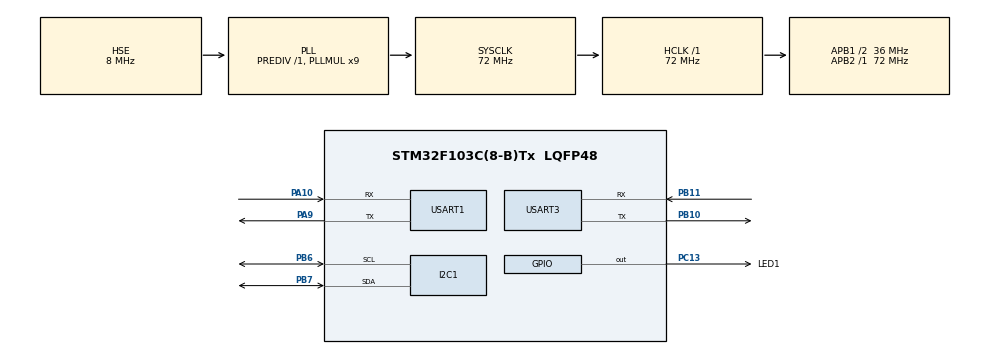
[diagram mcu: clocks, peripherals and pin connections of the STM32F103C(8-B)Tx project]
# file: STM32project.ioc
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Mcu.Family=STM32F1
Mcu.Name=STM32F103C(8-B)Tx
Mcu.Package=LQFP48
NVIC.PriorityGroup=NVIC_PRIORITYGROUP_4
NVIC.TIM3_IRQn=true\:0\:0\:false\:false\:true\:true\:true\:true
PA10.Mode=Asynchronous
PA10.Signal=USART1_RX
PA13.Mode=Serial_Wire
PA13.Signal=SYS_JTMS-SWDIO
PA14.Mode=Serial_Wire
PA14.Signal=SYS_JTCK-SWCLK
PA9.Mode=Asynchronous
PA9.Signal=USART1_TX
PB10.Mode=Asynchronous
PB10.Signal=USART3_TX
PB11.Mode=Asynchronous
PB11.Signal=USART3_RX
PB6.Mode=I2C
PB6.Signal=I2C1_SCL
PB7.Mode=I2C
PB7.Signal=I2C1_SDA
PC13-TAMPER-RTC.GPIO_Label=LED1
PC13-TAMPER-RTC.Signal=GPIO_Output
PC14-OSC32_IN.Mode=LSE-External-Oscillator
PC14-OSC32_IN.Signal=RCC_OSC32_IN
PC15-OSC32_OUT.Mode=LSE-External-Oscillator
PC15-OSC32_OUT.Signal=RCC_OSC32_OUT
PD0-OSC_IN.Mode=HSE-External-Oscillator
PD0-OSC_IN.Signal=RCC_OSC_IN
PD1-OSC_OUT.Mode=HSE-External-Oscillator
PD1-OSC_OUT.Signal=RCC_OSC_OUT
ProjectManager.HeapSize=0x200
ProjectManager.StackSize=0x400
ProjectManager.TargetToolchain=CMake
RCC.AHBFreq_Value=72000000
RCC.APB1CLKDivider=RCC_HCLK_DIV2
RCC.APB1Freq_Value=36000000
RCC.APB1TimFreq_Value=72000000
RCC.APB2Freq_Value=72000000
RCC.APB2TimFreq_Value=72000000
RCC.HCLKFreq_Value=72000000
RCC.PLLMUL=RCC_PLL_MUL9
RCC.PLLSourceVirtual=RCC_PLLSOURCE_HSE
RCC.SYSCLKFreq_VALUE=72000000
RCC.SYSCLKSource=RCC_SYSCLKSOURCE_PLLCLK
RCC.USBFreq_Value=72000000
TIM3.Period=29999
TIM3.Prescaler=7199
USART1.VirtualMode=VM_ASYNC
USART3.VirtualMode=VM_ASYNC
VP_TIM3_VS_ClockSourceINT.Mode=Internal
board=custom

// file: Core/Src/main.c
/* USER CODE BEGIN Header */
/**
  ******************************************************************************
  * @file           : main.c
  * @brief          : Main program body
  ******************************************************************************
  * @attention
  *
  * Copyright (c) 2026 STMicroelectronics.
  * All rights reserved.
  *
  * This software is licensed under terms that can be found in the LICENSE file
  * in the root directory of this software component.
  * If no LICENSE file comes with this software, it is provided AS-IS.
  *
  ******************************************************************************
  */
/* USER CODE END Header */
#include "main.h"
#include "i2c.h"
#include "tim.h"
#include "usart.h"
#include "gpio.h"

/* USER CODE BEGIN Includes */
#include "bh1750.h"
#include "aht20.h"
#include <stdio.h>
#include <string.h>
/* USER CODE END Includes */

/* USER CODE BEGIN PV */
volatile uint8_t tim3_flag = 0;
float light_lux = 0.0f;
float temperature = 0.0f;
float humidity = 0.0f;
uint8_t led_state = 0;
char bt_buf[64];
/* USER CODE END PV */

void SystemClock_Config(void);

int main(void)
{

  /* MCU Configuration--------------------------------------------------------*/

  /* Reset of all peripherals, Initializes the Flash interface and the Systick. */
  HAL_Init();

  /* Configure the system clock */
  SystemClock_Config();

  /* Initialize all configured peripherals */
  MX_GPIO_Init();
  MX_TIM3_Init();
  MX_I2C1_Init();
  MX_USART1_UART_Init();
  MX_USART3_UART_Init();
  /* USER CODE BEGIN 2 */
  /* LED blink to confirm program running */
  for (int i = 0; i < 3; i++) {
    HAL_GPIO_WritePin(LED1_GPIO_Port, LED1_Pin, GPIO_PIN_SET);
    HAL_Delay(200);
    HAL_GPIO_WritePin(LED1_GPIO_Port, LED1_Pin, GPIO_PIN_RESET);
    HAL_Delay(200);
  }

  BH1750_Init(&hi2c1);
  AHT20_Init(&hi2c1);

  HAL_TIM_Base_Start_IT(&htim3);

  HAL_Delay(500);
  /* USER CODE END 2 */

  /* Infinite loop */
  while (1)
  {

    /* USER CODE BEGIN 3 */
    if (tim3_flag)
    {
      tim3_flag = 0;

      /* I2C error recovery */
      if (HAL_I2C_GetError(&hi2c1) != HAL_I2C_ERROR_NONE)
      {
        HAL_I2C_DeInit(&hi2c1);
        MX_I2C1_Init();
        BH1750_Init(&hi2c1);
        AHT20_Init(&hi2c1);
      }

      /* Read BH1750 */
      BH1750_ReadLight(&hi2c1, &light_lux);

      /* Read AHT20 */
      AHT20_Read(&hi2c1, &temperature, &humidity);

      /* Threshold lighting */
      if (light_lux <= 300.0f)
      {
        HAL_GPIO_WritePin(LED1_GPIO_Port, LED1_Pin, GPIO_PIN_RESET);
        led_state = 1;
      }
      else
      {
        HAL_GPIO_WritePin(LED1_GPIO_Port, LED1_Pin, GPIO_PIN_SET);
        led_state = 0;
      }

      /* Send data via Bluetooth (USART1) */
      int lux_int = (int)light_lux;
      int temp_int = (int)(temperature * 10);
      int humi_int = (int)(humidity * 10);

      sprintf(bt_buf, "L:%d T:%d.%d H:%d.%d LED:%d\r\n",
              lux_int,
              temp_int / 10, temp_int % 10,
              humi_int / 10, humi_int % 10,
              led_state);
      HAL_UART_Transmit(&huart1, (uint8_t *)bt_buf, strlen(bt_buf), 200);
    }
  }
  /* USER CODE END 3 */
}

void SystemClock_Config(void)
{
  RCC_OscInitTypeDef RCC_OscInitStruct = {0};
  RCC_ClkInitTypeDef RCC_ClkInitStruct = {0};

  /** Initializes the RCC Oscillators according to the specified parameters
  * in the RCC_OscInitTypeDef structure.
  */
  RCC_OscInitStruct.OscillatorType = RCC_OSCILLATORTYPE_HSE;
  RCC_OscInitStruct.HSEState = RCC_HSE_ON;
  RCC_OscInitStruct.HSEPredivValue = RCC_HSE_PREDIV_DIV1;
  RCC_OscInitStruct.HSIState = RCC_HSI_ON;
  RCC_OscInitStruct.PLL.PLLState = RCC_PLL_ON;
  RCC_OscInitStruct.PLL.PLLSource = RCC_PLLSOURCE_HSE;
  RCC_OscInitStruct.PLL.PLLMUL = RCC_PLL_MUL9;
  if (HAL_RCC_OscConfig(&RCC_OscInitStruct) != HAL_OK)
  {
    Error_Handler();
  }

  /** Initializes the CPU, AHB and APB buses clocks
  */
  RCC_ClkInitStruct.ClockType = RCC_CLOCKTYPE_HCLK|RCC_CLOCKTYPE_SYSCLK
                              |RCC_CLOCKTYPE_PCLK1|RCC_CLOCKTYPE_PCLK2;
  RCC_ClkInitStruct.SYSCLKSource = RCC_SYSCLKSOURCE_PLLCLK;
  RCC_ClkInitStruct.AHBCLKDivider = RCC_SYSCLK_DIV1;
  RCC_ClkInitStruct.APB1CLKDivider = RCC_HCLK_DIV2;
  RCC_ClkInitStruct.APB2CLKDivider = RCC_HCLK_DIV1;

  if (HAL_RCC_ClockConfig(&RCC_ClkInitStruct, FLASH_LATENCY_2) != HAL_OK)
  {
    Error_Handler();
  }
}

/* USER CODE BEGIN 4 */
void HAL_TIM_PeriodElapsedCallback(TIM_HandleTypeDef *htim)
{
  if (htim->Instance == TIM3)
  {
    tim3_flag = 1;
  }
}

/* USER CODE END 4 */

void Error_Handler(void)
{
  __disable_irq();
  while (1)
  {
  }
}
